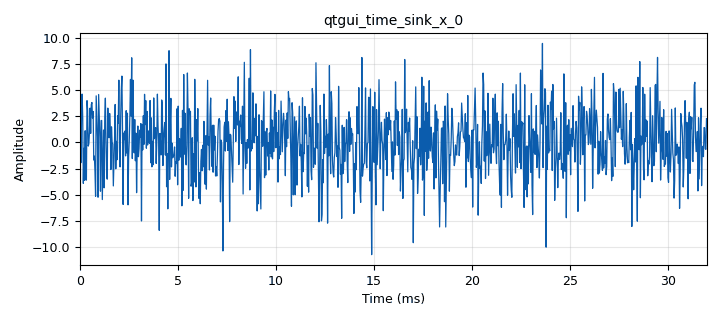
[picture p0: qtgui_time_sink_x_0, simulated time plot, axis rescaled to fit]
options:
  parameters:
    author: labcomgrupo8
    generate_options: qt_gui
    id: lab_0_0
    output_language: python
    title: Not titled yet
  states: {}

blocks:
- name: A
  id: variable_qtgui_range
  parameters:
    label: amplitud
    orient: Qt.Horizontal
    start: '1'
    step: '0.01'
    stop: '5'
    value: '3'
  states: {}
- name: F
  id: variable_qtgui_range
  parameters:
    label: frecuency
    orient: Qt.Horizontal
    start: '1000'
    step: '100'
    stop: '10000'
    value: '1000'
  states: {}
- name: samp_rate
  id: variable
  parameters:
    value: '32000'
  states: {}
- name: analog_noise_source_x_0
  id: analog_noise_source_x
  parameters:
    amp: A
    noise_type: analog.GR_GAUSSIAN
    seed: '0'
    type: float
  states: {}
- name: analog_sig_source_x_0
  id: analog_sig_source_x
  parameters:
    amp: A
    freq: F
    offset: '0'
    phase: '0'
    samp_rate: samp_rate
    type: float
    waveform: analog.GR_COS_WAVE
  states: {state: disabled}
- name: blocks_vector_source_x_0
  id: blocks_vector_source_x
  parameters:
    repeat: 'True'
    type: float
    vector: (3, 2, -3)
  states: {state: disabled}
- name: epy_block_0
  id: epy_block
  parameters:
    _source_code: |
      import numpy as np
      from gnuradio import gr
      class blk(gr.sync_block):
        def __init__(self): # only default arguments here
          gr.sync_block.__init__(
            self,
            name ='Promedio de Tiempos', # will show up in GRC
            in_sig=[np.float32],
            out_sig=[np.float32,np.float32,np.float32,np.float32,np.float32]
          )
          self.acum_anterior = 0
          self.Ntotales = 0
          self.acum_anterior1 = 0
          self.acum_anterior2 = 0
        def work(self,input_items,output_items):
          x = input_items[0] # Senial de entrada .
          y0 = output_items[0] # Promedio de la senial
          y1 = output_items[1] # Media de la senial
          y2 = output_items[2] # RMS de la senial
          y3 = output_items[3] # Potencia promedio de la senial
          y4 = output_items[4] # Desviacion estandar de la senial
          # Calculo del promedio
          N = len(x)
          self.Ntotales = self.Ntotales + N
          acumulado = self.acum_anterior + np.cumsum(x)
          self.acum_anterior = acumulado[N-1]
          y0[:]= acumulado/self.Ntotales
          # Calculo de la media cuadratica
          x2=np. multiply(x,x)
          acumulado1 = self.acum_anterior1 + np.cumsum(x2)
          self.acum_anterior1 = acumulado1[N-1]
          y1[:] = acumulado1/self.Ntotales
          # Calculo de la RM
          y2[:] = np.sqrt(y1)
          # Calculo de la potencia promedio
          y3[:] = np.multiply(y2,y2)
          # Calculo de la desviacion estandar
          x3 = np.multiply(x-y0,x-y0)
          acumulado2 = self.acum_anterior2 + np.cumsum(x3)
          self.acum_anterior2 = acumulado2[N-1]
          y4[:] = np.sqrt(acumulado2/self.Ntotales)
          return len(x)
  states: {}
- name: qtgui_number_sink_0
  id: qtgui_number_sink
  parameters:
    graph_type: qtgui.NUM_GRAPH_HORIZ
    name: Media
    type: float
  states: {}
- name: qtgui_number_sink_0_0
  id: qtgui_number_sink
  parameters:
    graph_type: qtgui.NUM_GRAPH_HORIZ
    name: Media cuadratica
    type: float
  states: {}
- name: qtgui_number_sink_0_0_0
  id: qtgui_number_sink
  parameters:
    graph_type: qtgui.NUM_GRAPH_HORIZ
    name: RMS
    type: float
  states: {}
- name: qtgui_number_sink_0_0_0_0
  id: qtgui_number_sink
  parameters:
    graph_type: qtgui.NUM_GRAPH_HORIZ
    name: Potencia promedio
    type: float
  states: {}
- name: qtgui_number_sink_0_0_0_0_0
  id: qtgui_number_sink
  parameters:
    graph_type: qtgui.NUM_GRAPH_HORIZ
    name: Desviacion estandar
    type: float
  states: {}
- name: qtgui_time_sink_x_0
  id: qtgui_time_sink_x
  parameters:
    size: '1024'
    srate: samp_rate
    type: float
  states: {}

connections:
- [analog_noise_source_x_0, '0', epy_block_0, '0']
- [analog_noise_source_x_0, '0', qtgui_time_sink_x_0, '0']
- [analog_sig_source_x_0, '0', epy_block_0, '0']
- [analog_sig_source_x_0, '0', qtgui_time_sink_x_0, '0']
- [blocks_vector_source_x_0, '0', epy_block_0, '0']
- [blocks_vector_source_x_0, '0', qtgui_time_sink_x_0, '0']
- [epy_block_0, '0', qtgui_number_sink_0, '0']
- [epy_block_0, '1', qtgui_number_sink_0_0, '0']
- [epy_block_0, '2', qtgui_number_sink_0_0_0, '0']
- [epy_block_0, '3', qtgui_number_sink_0_0_0_0, '0']
- [epy_block_0, '4', qtgui_number_sink_0_0_0_0_0, '0']

metadata:
  file_format: 1
